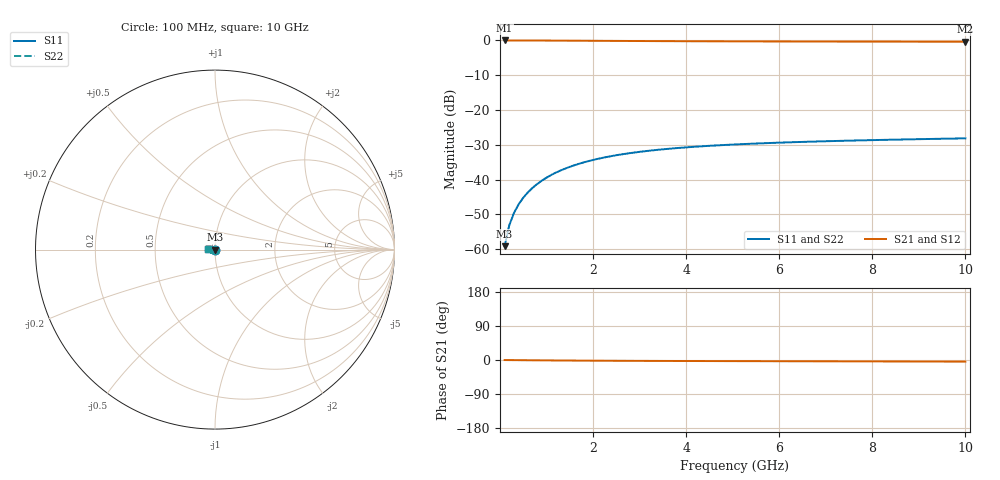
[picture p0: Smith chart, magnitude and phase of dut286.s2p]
! Touchstone file exported from HFSS 2024.1.0
!  File:  C:/UserFiles/LocalFiles/RDL_TSV_Batchsim/temp_TSV1_286_1778770535.aedt
!  Generated:  11:00:14 PM May 14, 2026
!  Design:  TSV1
!  Project:  temp_TSV1_286_1778770535
!  Setup:  Setup1
!  Solution:  Sweep
! Variables:
!  dtsv = 11.8um
!  hbump = 3um
!  htsv = 63.53um
!  lrdl = 252.1521522um
!  p = 40
!  p1 = 54.92um
!  t = 500um
!  trdl = 3um
!  wrdl = 24.89489489um
# GHz S MA R 50.000000
! Terminal data exported
! Port[1] = TSV22_T1
! Port[2] = TSV22_T2
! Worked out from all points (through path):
!   100 points, 100 MHz to 10 GHz, reference 50 ohm
!   highest |S21| = 0.00 dB at 100 MHz (marker M1); lowest = -0.4 dB at 10 GHz (marker M2)
!   lowest |S11| = -59.1 dB at 100 MHz (marker M3), VSWR 1.00, Z = 50 - j0.111 ohm
!   |S11| at or under -10 dB: start of sweep to end of sweep
!   |S22| runs from -59.1 to -28.1 dB; largest |S21 - S12| = 6.5e-15
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0.1  0.001108 -87.3  0.9999 -0.1  0.9999 -0.1  0.001108 -87.3
! Gamma 0 0 0 0
! Port Impedance 50 0 50 0
0.2  0.00221 -91.4  0.9997 -0.2  0.9997 -0.2  0.00221 -91.4
0.3  0.003312 -94.0  0.9995 -0.3  0.9995 -0.3  0.003312 -94.0
0.4  0.004409 -96.2  0.9993 -0.4  0.9993 -0.4  0.004409 -96.2
0.5  0.005496 -98.4  0.9989 -0.5  0.9989 -0.5  0.005496 -98.4
0.6  0.00657 -100.4  0.9985 -0.6  0.9985 -0.6  0.00657 -100.4
0.7  0.007629 -102.4  0.9981 -0.7  0.9981 -0.7  0.007629 -102.4
0.8  0.008668 -104.4  0.9975 -0.8  0.9975 -0.8  0.008668 -104.4
0.9  0.009687 -106.3  0.997 -0.9  0.997 -0.9  0.009687 -106.3
1.1  0.01165 -110.0  0.9957 -1.1  0.9957 -1.1  0.01165 -110.0
1.4  0.01441 -115.2  0.9936 -1.4  0.9936 -1.4  0.01441 -115.2
1.6  0.01611 -118.6  0.992 -1.5  0.992 -1.5  0.01611 -118.6
1.8  0.01771 -121.7  0.9904 -1.7  0.9904 -1.7  0.0177 -121.7
2.1  0.01988 -126.2  0.988 -1.8  0.988 -1.8  0.01988 -126.2
2.5  0.02243 -131.7  0.9848 -2.1  0.9848 -2.1  0.02243 -131.7
2.9  0.0246 -136.7  0.9819 -2.3  0.9819 -2.3  0.0246 -136.7
3.4  0.02688 -142.2  0.9785 -2.4  0.9785 -2.4  0.02688 -142.2
4.2  0.02974 -149.9  0.9739 -2.7  0.9739 -2.7  0.02974 -149.9
5.1  0.03215 -157.1  0.9699 -3.0  0.9699 -3.0  0.03215 -157.1
6.7  0.03518 -167.4  0.965 -3.4  0.965 -3.4  0.03518 -167.4
8.4  0.03748 -176.1  0.9615 -3.8  0.9615 -3.8  0.03748 -176.1
10  0.03922 177.1  0.9593 -4.3  0.9593 -4.3  0.03922 177.1
